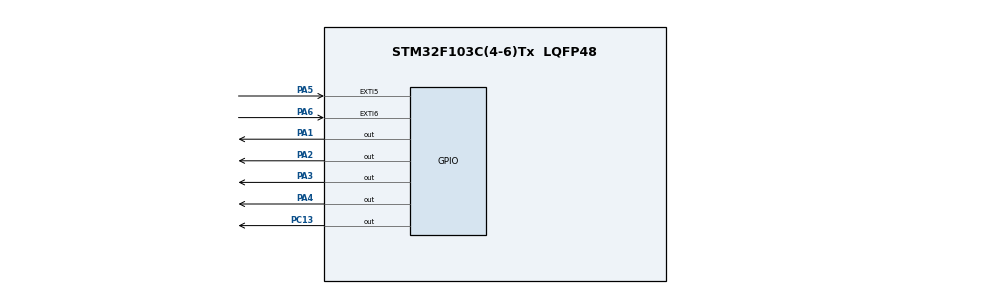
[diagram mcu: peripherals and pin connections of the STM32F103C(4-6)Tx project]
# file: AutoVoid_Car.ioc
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Mcu.Family=STM32F1
Mcu.Name=STM32F103C(4-6)Tx
Mcu.Package=LQFP48
NVIC.EXTI9_5_IRQn=true\:0\:0\:false\:false\:true\:true\:true\:true
NVIC.PriorityGroup=NVIC_PRIORITYGROUP_4
PA1.Signal=GPIO_Output
PA13.Mode=Serial_Wire
PA13.Signal=SYS_JTMS-SWDIO
PA14.Mode=Serial_Wire
PA14.Signal=SYS_JTCK-SWCLK
PA2.Signal=GPIO_Output
PA3.Signal=GPIO_Output
PA4.Signal=GPIO_Output
PA5.GPIO_ModeDefaultEXTI=GPIO_MODE_IT_RISING_FALLING
PA5.Signal=GPXTI5
PA6.GPIO_ModeDefaultEXTI=GPIO_MODE_IT_RISING_FALLING
PA6.Signal=GPXTI6
PC13-TAMPER-RTC.Signal=GPIO_Output
ProjectManager.HeapSize=0x200
ProjectManager.StackSize=0x400
ProjectManager.TargetToolchain=STM32CubeIDE
RCC.APB1Freq_Value=8000000
RCC.APB2Freq_Value=8000000
board=custom

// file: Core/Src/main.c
/* USER CODE BEGIN Header */
/**
  ******************************************************************************
  * @file           : main.c
  * @brief          : Main program body
  ******************************************************************************
  * @attention
  *
  * Copyright (c) 2025 STMicroelectronics.
  * All rights reserved.
  *
  * This software is licensed under terms that can be found in the LICENSE file
  * in the root directory of this software component.
  * If no LICENSE file comes with this software, it is provided AS-IS.
  *
  ******************************************************************************
  */
/* USER CODE END Header */
#include "main.h"

/* USER CODE BEGIN PV */
bool ObstaclesExit = false ;
Motor_Config motor_drive = {
  .port = GPIOA,
  .IN1 = GPIO_PIN_1,
  .IN2 = GPIO_PIN_2,
  .IN3 = GPIO_PIN_3,
  .IN4 = GPIO_PIN_4
};
/* USER CODE END PV */

void SystemClock_Config(void);
static void MX_GPIO_Init(void);
/* USER CODE BEGIN PFP */
void HAL_GPIO_EXTI_Callback(uint16_t GPIO_Pin){
	if(GPIO_Pin == GPIO_PIN_5){
		if (HAL_GPIO_ReadPin(GPIOA, GPIO_PIN_5) == GPIO_PIN_SET){
			move_forward(&motor_drive);
		}
		else{
			stop_moving(&motor_drive);
		}
	}
	else if(GPIO_Pin == GPIO_PIN_6){
		if (HAL_GPIO_ReadPin(GPIOA, GPIO_PIN_6) == GPIO_PIN_SET){
			move_backward(&motor_drive);
		}
		else{
			stop_moving(&motor_drive);
		}
	}
}
/* USER CODE END PFP */

int main(void)
{

  /* MCU Configuration--------------------------------------------------------*/

  /* Reset of all peripherals, Initializes the Flash interface and the Systick. */
  HAL_Init();

  /* Configure the system clock */
  SystemClock_Config();

  /* Initialize all configured peripherals */
  MX_GPIO_Init();

  /* Infinite loop */
  /* USER CODE BEGIN WHILE */
  bool objectstillexit = false;
  while (1)
  {
    /* USER CODE END WHILE */

  }
}

void SystemClock_Config(void)
{
  RCC_OscInitTypeDef RCC_OscInitStruct = {0};
  RCC_ClkInitTypeDef RCC_ClkInitStruct = {0};

  /** Initializes the RCC Oscillators according to the specified parameters
  * in the RCC_OscInitTypeDef structure.
  */
  RCC_OscInitStruct.OscillatorType = RCC_OSCILLATORTYPE_HSI;
  RCC_OscInitStruct.HSIState = RCC_HSI_ON;
  RCC_OscInitStruct.HSICalibrationValue = RCC_HSICALIBRATION_DEFAULT;
  RCC_OscInitStruct.PLL.PLLState = RCC_PLL_NONE;
  if (HAL_RCC_OscConfig(&RCC_OscInitStruct) != HAL_OK)
  {
    Error_Handler();
  }

  /** Initializes the CPU, AHB and APB buses clocks
  */
  RCC_ClkInitStruct.ClockType = RCC_CLOCKTYPE_HCLK|RCC_CLOCKTYPE_SYSCLK
                              |RCC_CLOCKTYPE_PCLK1|RCC_CLOCKTYPE_PCLK2;
  RCC_ClkInitStruct.SYSCLKSource = RCC_SYSCLKSOURCE_HSI;
  RCC_ClkInitStruct.AHBCLKDivider = RCC_SYSCLK_DIV1;
  RCC_ClkInitStruct.APB1CLKDivider = RCC_HCLK_DIV1;
  RCC_ClkInitStruct.APB2CLKDivider = RCC_HCLK_DIV1;

  if (HAL_RCC_ClockConfig(&RCC_ClkInitStruct, FLASH_LATENCY_0) != HAL_OK)
  {
    Error_Handler();
  }
}

static void MX_GPIO_Init(void)
{
  GPIO_InitTypeDef GPIO_InitStruct = {0};

  /* GPIO Ports Clock Enable */
  __HAL_RCC_GPIOC_CLK_ENABLE();
  __HAL_RCC_GPIOA_CLK_ENABLE();

  /*Configure GPIO pin Output Level */
  HAL_GPIO_WritePin(GPIOC, GPIO_PIN_13, GPIO_PIN_RESET);

  /*Configure GPIO pin Output Level */
  HAL_GPIO_WritePin(GPIOA, GPIO_PIN_1|GPIO_PIN_2|GPIO_PIN_3|GPIO_PIN_4, GPIO_PIN_RESET);

  /*Configure GPIO pin : PC13 */
  GPIO_InitStruct.Pin = GPIO_PIN_13;
  GPIO_InitStruct.Mode = GPIO_MODE_OUTPUT_PP;
  GPIO_InitStruct.Pull = GPIO_NOPULL;
  GPIO_InitStruct.Speed = GPIO_SPEED_FREQ_LOW;
  HAL_GPIO_Init(GPIOC, &GPIO_InitStruct);

  /*Configure GPIO pins : PA1 PA2 PA3 PA4 */
  GPIO_InitStruct.Pin = GPIO_PIN_1|GPIO_PIN_2|GPIO_PIN_3|GPIO_PIN_4;
  GPIO_InitStruct.Mode = GPIO_MODE_OUTPUT_PP;
  GPIO_InitStruct.Pull = GPIO_NOPULL;
  GPIO_InitStruct.Speed = GPIO_SPEED_FREQ_LOW;
  HAL_GPIO_Init(GPIOA, &GPIO_InitStruct);

  /*Configure GPIO pins : PA5 PA6 */
  GPIO_InitStruct.Pin = GPIO_PIN_5|GPIO_PIN_6;
  GPIO_InitStruct.Mode = GPIO_MODE_IT_RISING_FALLING;
  GPIO_InitStruct.Pull = GPIO_NOPULL;
  HAL_GPIO_Init(GPIOA, &GPIO_InitStruct);

  /* EXTI interrupt init*/
  HAL_NVIC_SetPriority(EXTI9_5_IRQn, 0, 0);
  HAL_NVIC_EnableIRQ(EXTI9_5_IRQn);

}

void Error_Handler(void)
{
  __disable_irq();
  while (1)
  {
  }
}
